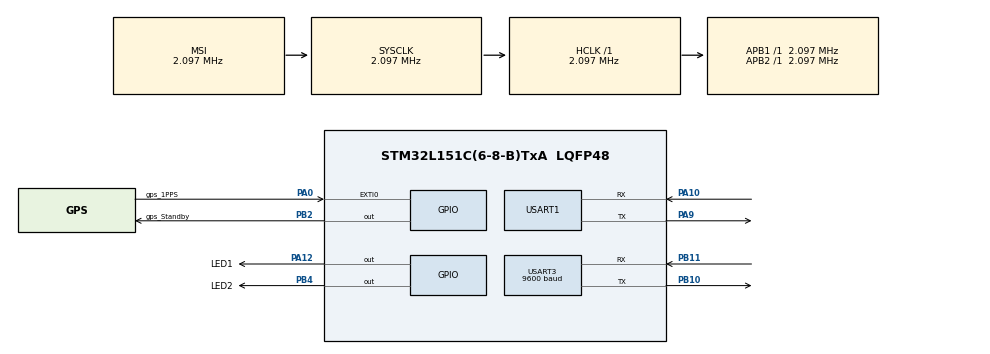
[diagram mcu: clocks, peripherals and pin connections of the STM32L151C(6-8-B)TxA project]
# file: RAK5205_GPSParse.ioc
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Mcu.Family=STM32L1
Mcu.Name=STM32L151C(6-8-B)TxA
Mcu.Package=LQFP48
NVIC.EXTI0_IRQn=true\:0\:0\:false\:false\:true\:true
NVIC.PriorityGroup=NVIC_PRIORITYGROUP_4
NVIC.USART3_IRQn=true\:0\:0\:false\:false\:true\:true
PA0-WKUP1.GPIO_Label=gps_1PPS
PA0-WKUP1.GPIO_PuPd=GPIO_PULLUP
PA0-WKUP1.Signal=GPXTI0
PA10.Mode=Asynchronous
PA10.Signal=USART1_RX
PA12.GPIO_Label=LED1
PA12.PinState=GPIO_PIN_SET
PA12.Signal=GPIO_Output
PA13.Mode=Serial_Wire
PA13.Signal=SYS_JTMS-SWDIO
PA14.Mode=Serial_Wire
PA14.Signal=SYS_JTCK-SWCLK
PA9.Mode=Asynchronous
PA9.Signal=USART1_TX
PB10.Mode=Asynchronous
PB10.Signal=USART3_TX
PB11.Mode=Asynchronous
PB11.Signal=USART3_RX
PB2.GPIO_Label=gps_Standby
PB2.Signal=GPIO_Output
PB4.GPIO_Label=LED2
PB4.Signal=GPIO_Output
PC14-OSC32_IN.Mode=LSE-External-Oscillator
PC14-OSC32_IN.Signal=RCC_OSC32_IN
PC15-OSC32_OUT.Mode=LSE-External-Oscillator
PC15-OSC32_OUT.Signal=RCC_OSC32_OUT
ProjectManager.HeapSize=0x200
ProjectManager.StackSize=0x400
ProjectManager.TargetToolchain=SW4STM32
RCC.AHBFreq_Value=2097000
RCC.APB1Freq_Value=2097000
RCC.APB2Freq_Value=2097000
RCC.HSE_VALUE=24000000
RCC.HSI_VALUE=16000000
RCC.MSI_VALUE=2097000
RCC.SYSCLKFreq_VALUE=2097000
RCC.VCOOutputFreq_Value=48000000
USART1.VirtualMode=VM_ASYNC
USART3.BaudRate=9600
USART3.VirtualMode=VM_ASYNC
board=custom

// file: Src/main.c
/* USER CODE BEGIN Header */
/**
  ******************************************************************************
  * @file           : main.c
  * @brief          : Main program body
  ******************************************************************************
  ** This notice applies to any and all portions of this file
  * that are not between comment pairs USER CODE BEGIN and
  * USER CODE END. Other portions of this file, whether
  * inserted by the user or by software development tools
  * are owned by their respective copyright owners.
  *
  * COPYRIGHT(c) 2018 STMicroelectronics
  *
  * Redistribution and use in source and binary forms, with or without modification,
  * are permitted provided that the following conditions are met:
  *   1. Redistributions of source code must retain the above copyright notice,
  *      this list of conditions and the following disclaimer.
  *   2. Redistributions in binary form must reproduce the above copyright notice,
  *      this list of conditions and the following disclaimer in the documentation
  *      and/or other materials provided with the distribution.
  *   3. Neither the name of STMicroelectronics nor the names of its contributors
  *      may be used to endorse or promote products derived from this software
  *      without specific prior written permission.
  *
  * THIS SOFTWARE IS PROVIDED BY THE COPYRIGHT HOLDERS AND CONTRIBUTORS "AS IS"
  * AND ANY EXPRESS OR IMPLIED WARRANTIES, INCLUDING, BUT NOT LIMITED TO, THE
  * IMPLIED WARRANTIES OF MERCHANTABILITY AND FITNESS FOR A PARTICULAR PURPOSE ARE
  * DISCLAIMED. IN NO EVENT SHALL THE COPYRIGHT HOLDER OR CONTRIBUTORS BE LIABLE
  * FOR ANY DIRECT, INDIRECT, INCIDENTAL, SPECIAL, EXEMPLARY, OR CONSEQUENTIAL
  * DAMAGES (INCLUDING, BUT NOT LIMITED TO, PROCUREMENT OF SUBSTITUTE GOODS OR
  * SERVICES; LOSS OF USE, DATA, OR PROFITS; OR BUSINESS INTERRUPTION) HOWEVER
  * CAUSED AND ON ANY THEORY OF LIABILITY, WHETHER IN CONTRACT, STRICT LIABILITY,
  * OR TORT (INCLUDING NEGLIGENCE OR OTHERWISE) ARISING IN ANY WAY OUT OF THE USE
  * OF THIS SOFTWARE, EVEN IF ADVISED OF THE POSSIBILITY OF SUCH DAMAGE.
  *
  ******************************************************************************
  */
/* USER CODE END Header */

#include "main.h"

/* USER CODE BEGIN Includes */
#include "nmeaParser.h"
#include <stdlib.h>
#include <stdbool.h>
#include <errno.h>
#include "fifo.h"
#include <string.h>

#define FIFO_RX_SIZE     1024
#define NMEA_BUFFER_SIZE 128

/* USER CODE END Includes */

UART_HandleTypeDef huart1;
UART_HandleTypeDef huart3;

/* USER CODE BEGIN PV */
extern UartContext_t UartContext;
Fifo_t rxFifo;
bool endOfNmeaMessage;
/* USER CODE END PV */

void SystemClock_Config(void);
static void MX_GPIO_Init(void);
static void MX_USART1_UART_Init(void);
static void MX_USART3_UART_Init(void);

int main(void)
{
  /* USER CODE BEGIN 1 */
	uint8_t *UART_RxBuffer;
	uint8_t *nmeaMessageBuffer,*nmeaMessageBufferPtr;
	uint8_t c;
	int charCount;
	register int sp asm ("sp");

  /* USER CODE END 1 */

  /* MCU Configuration--------------------------------------------------------*/

  /* Reset of all peripherals, Initializes the Flash interface and the Systick. */
  HAL_Init();

  /* Configure the system clock */
  SystemClock_Config();

  /* Initialize all configured peripherals */
  MX_GPIO_Init();
  MX_USART1_UART_Init();
  MX_USART3_UART_Init();
  /* USER CODE BEGIN 2 */
  printf("Rak5205 GPS demo program\r\n");
  printf("The Quectel L76 GPS receiver is connected to Rak811 UART 3\r\n");
  printf("Reads the GPS receiver and parses the NMEA messages\r\n");
  printf("The GPS timing pulse is connected to Rak811 GPIO PA0\r\n");
  printf("Stack pointer is at %x\r\n",sp);

  /* initialize the fifo for UART Rx */

  UART_RxBuffer = malloc(FIFO_RX_SIZE);

  if (UART_RxBuffer == NULL) {
	  printf("Cannot allocate the nmea message fifo buffer\r\n");
	  perror("Error after malloc: ");
	  while (1)
		  HAL_Delay(10000);
  }
  else
	  printf("fifo buffer allocated at 0x%lx\r\n",(long)UART_RxBuffer);
  FifoInit(&rxFifo,UART_RxBuffer,FIFO_RX_SIZE);
/*
 * allocate space for the nmea line buffer
 */
  nmeaMessageBuffer = malloc(NMEA_BUFFER_SIZE);

  if (nmeaMessageBuffer == NULL) {
	  printf("Cannot allocate the nmea message line buffer\r\n");
	  perror("Error after malloc: ");
	  while (1)
		  HAL_Delay(10000);
  }
  else
	  printf("nmea message buffer allocated at 0x%lx\r\n",(long)nmeaMessageBuffer);
  HAL_UART_Receive_IT( &huart3, &UartContext.RxData, 1 );

  printf("Switching GPS Standby off\r\n");
  HAL_GPIO_WritePin(gps_Standby_GPIO_Port, gps_Standby_Pin, GPIO_PIN_SET);

  /* USER CODE END 2 */

  /* Infinite loop */
  /* USER CODE BEGIN WHILE */
  charCount = 0;
  nmeaMessageBufferPtr = nmeaMessageBuffer;
  while (1)
  {
	  if (!IsFifoEmpty(&rxFifo)) {
		  charCount++;
		  c = FifoPop(&rxFifo);

		  if (charCount <  NMEA_BUFFER_SIZE -1 ) {
			  *nmeaMessageBufferPtr++ = c;
//			  printf("0x%02x ",c);
		  }
		  else {
			  printf("nmeaBuffer overflow\r\n");
			  while (true)
				  HAL_Delay(10000);
		  }
		  if (c == '\n') {
			  printf("%d chars\r\n",charCount);
			  *nmeaMessageBufferPtr = '\0';
			  printf("\r\n%s",nmeaMessageBuffer);
			  fflush(stdout);
			  nmeaInterpret(nmeaMessageBuffer);
			  charCount = 0;
			  nmeaMessageBufferPtr = nmeaMessageBuffer;
		  }
	  }

    /* USER CODE END WHILE */

  }
}

void SystemClock_Config(void)
{
  RCC_OscInitTypeDef RCC_OscInitStruct = {0};
  RCC_ClkInitTypeDef RCC_ClkInitStruct = {0};

  /**Configure the main internal regulator output voltage
  */
  __HAL_PWR_VOLTAGESCALING_CONFIG(PWR_REGULATOR_VOLTAGE_SCALE1);
  /**Initializes the CPU, AHB and APB busses clocks
  */
  RCC_OscInitStruct.OscillatorType = RCC_OSCILLATORTYPE_MSI;
  RCC_OscInitStruct.MSIState = RCC_MSI_ON;
  RCC_OscInitStruct.MSICalibrationValue = 0;
  RCC_OscInitStruct.MSIClockRange = RCC_MSIRANGE_5;
  RCC_OscInitStruct.PLL.PLLState = RCC_PLL_NONE;
  if (HAL_RCC_OscConfig(&RCC_OscInitStruct) != HAL_OK)
  {
    Error_Handler();
  }
  /**Initializes the CPU, AHB and APB busses clocks
  */
  RCC_ClkInitStruct.ClockType = RCC_CLOCKTYPE_HCLK|RCC_CLOCKTYPE_SYSCLK
                              |RCC_CLOCKTYPE_PCLK1|RCC_CLOCKTYPE_PCLK2;
  RCC_ClkInitStruct.SYSCLKSource = RCC_SYSCLKSOURCE_MSI;
  RCC_ClkInitStruct.AHBCLKDivider = RCC_SYSCLK_DIV1;
  RCC_ClkInitStruct.APB1CLKDivider = RCC_HCLK_DIV1;
  RCC_ClkInitStruct.APB2CLKDivider = RCC_HCLK_DIV1;

  if (HAL_RCC_ClockConfig(&RCC_ClkInitStruct, FLASH_LATENCY_0) != HAL_OK)
  {
    Error_Handler();
  }
}

static void MX_USART1_UART_Init(void)
{

  huart1.Instance = USART1;
  huart1.Init.BaudRate = 115200;
  huart1.Init.WordLength = UART_WORDLENGTH_8B;
  huart1.Init.StopBits = UART_STOPBITS_1;
  huart1.Init.Parity = UART_PARITY_NONE;
  huart1.Init.Mode = UART_MODE_TX_RX;
  huart1.Init.HwFlowCtl = UART_HWCONTROL_NONE;
  huart1.Init.OverSampling = UART_OVERSAMPLING_16;
  if (HAL_UART_Init(&huart1) != HAL_OK)
  {
    Error_Handler();
  }

}

static void MX_USART3_UART_Init(void)
{

  huart3.Instance = USART3;
  huart3.Init.BaudRate = 9600;
  huart3.Init.WordLength = UART_WORDLENGTH_8B;
  huart3.Init.StopBits = UART_STOPBITS_1;
  huart3.Init.Parity = UART_PARITY_NONE;
  huart3.Init.Mode = UART_MODE_TX_RX;
  huart3.Init.HwFlowCtl = UART_HWCONTROL_NONE;
  huart3.Init.OverSampling = UART_OVERSAMPLING_16;
  if (HAL_UART_Init(&huart3) != HAL_OK)
  {
    Error_Handler();
  }

}

static void MX_GPIO_Init(void)
{
  GPIO_InitTypeDef GPIO_InitStruct = {0};

  /* GPIO Ports Clock Enable */
  __HAL_RCC_GPIOC_CLK_ENABLE();
  __HAL_RCC_GPIOA_CLK_ENABLE();
  __HAL_RCC_GPIOB_CLK_ENABLE();

  /*Configure GPIO pin Output Level */
  HAL_GPIO_WritePin(GPIOB, gps_Standby_Pin|LED2_Pin, GPIO_PIN_RESET);

  /*Configure GPIO pin Output Level */
  HAL_GPIO_WritePin(LED1_GPIO_Port, LED1_Pin, GPIO_PIN_SET);

  /*Configure GPIO pin : gps_1PPS_Pin */
  GPIO_InitStruct.Pin = gps_1PPS_Pin;
  GPIO_InitStruct.Mode = GPIO_MODE_IT_RISING;
  GPIO_InitStruct.Pull = GPIO_PULLUP;
  HAL_GPIO_Init(gps_1PPS_GPIO_Port, &GPIO_InitStruct);

  /*Configure GPIO pins : gps_Standby_Pin LED2_Pin */
  GPIO_InitStruct.Pin = gps_Standby_Pin|LED2_Pin;
  GPIO_InitStruct.Mode = GPIO_MODE_OUTPUT_PP;
  GPIO_InitStruct.Pull = GPIO_NOPULL;
  GPIO_InitStruct.Speed = GPIO_SPEED_FREQ_LOW;
  HAL_GPIO_Init(GPIOB, &GPIO_InitStruct);

  /*Configure GPIO pin : LED1_Pin */
  GPIO_InitStruct.Pin = LED1_Pin;
  GPIO_InitStruct.Mode = GPIO_MODE_OUTPUT_PP;
  GPIO_InitStruct.Pull = GPIO_NOPULL;
  GPIO_InitStruct.Speed = GPIO_SPEED_FREQ_LOW;
  HAL_GPIO_Init(LED1_GPIO_Port, &GPIO_InitStruct);

  /* EXTI interrupt init*/
  HAL_NVIC_SetPriority(EXTI0_IRQn, 0, 0);
  HAL_NVIC_EnableIRQ(EXTI0_IRQn);

}

void Error_Handler(void)
{
}

/************************ (C) COPYRIGHT STMicroelectronics *****END OF FILE****/
